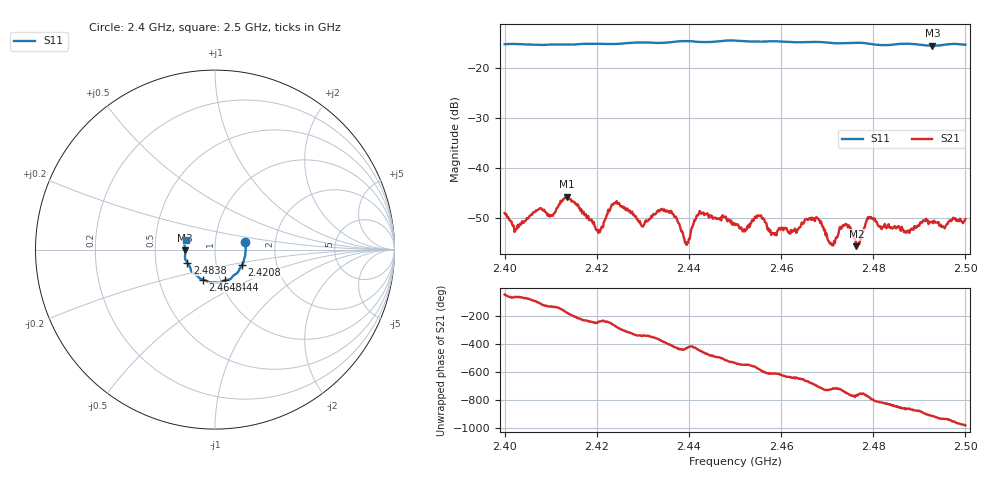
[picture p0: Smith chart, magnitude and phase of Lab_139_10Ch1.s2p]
# Hz S RI R 50
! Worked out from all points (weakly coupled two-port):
!   601 points, 2.4 GHz to 2.5 GHz, reference 50 ohm
!   highest |S21| = -45.78 dB at 2.4135 GHz (marker M1); lowest = -55.7 dB at 2.4763 GHz (marker M2)
!   lowest |S11| = -15.6 dB at 2.4928 GHz (marker M3), VSWR 1.40, Z = 35.7 - j0.336 ohm
!   |S11| at or under -10 dB: start of sweep to end of sweep
!   S12 and S22 are empty: the file has one direction only
!   S11 on the Smith chart (normalised r, x): 2.4 GHz: 1.40, +0.12; 2.4208 GHz: 1.33, -0.24; 2.444 GHz: 1.06, -0.37; 2.4648 GHz: 0.83, -0.29; 2.4838 GHz: 0.73, -0.11; 2.5 GHz: 0.72, +0.08
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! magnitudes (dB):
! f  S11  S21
! 2.4 GHz  -15.3  -49.1
! 2.4027 GHz  -15.2  -52.2
! 2.4135 GHz  -15.4  -45.8
! 2.4167 GHz  -15.2  -48.3
! 2.4208 GHz  -15.2  -52.4
! 2.4238 GHz  -15.2  -47.1
! 2.4298 GHz  -14.9  -51.7
! 2.4333 GHz  -15.0  -48.5
! 2.4367 GHz  -14.8  -49.4
! 2.4395 GHz  -14.7  -55.4
! 2.444 GHz  -14.9  -49.1
! 2.45 GHz  -14.6  -51.2
! 2.4648 GHz  -14.9  -51.2
! 2.4667 GHz  -14.8  -50.0
! 2.4708 GHz  -15.0  -55.1
! 2.4738 GHz  -15.1  -51.4
! 2.4763 GHz  -15.0  -55.7
! 2.4792 GHz  -15.2  -49.9
! 2.4833 GHz  -15.4  -51.3
! 2.4838 GHz  -15.4  -51.9
! 2.4928 GHz  -15.6  -50.7
! 2.5 GHz  -15.4  -50.3
